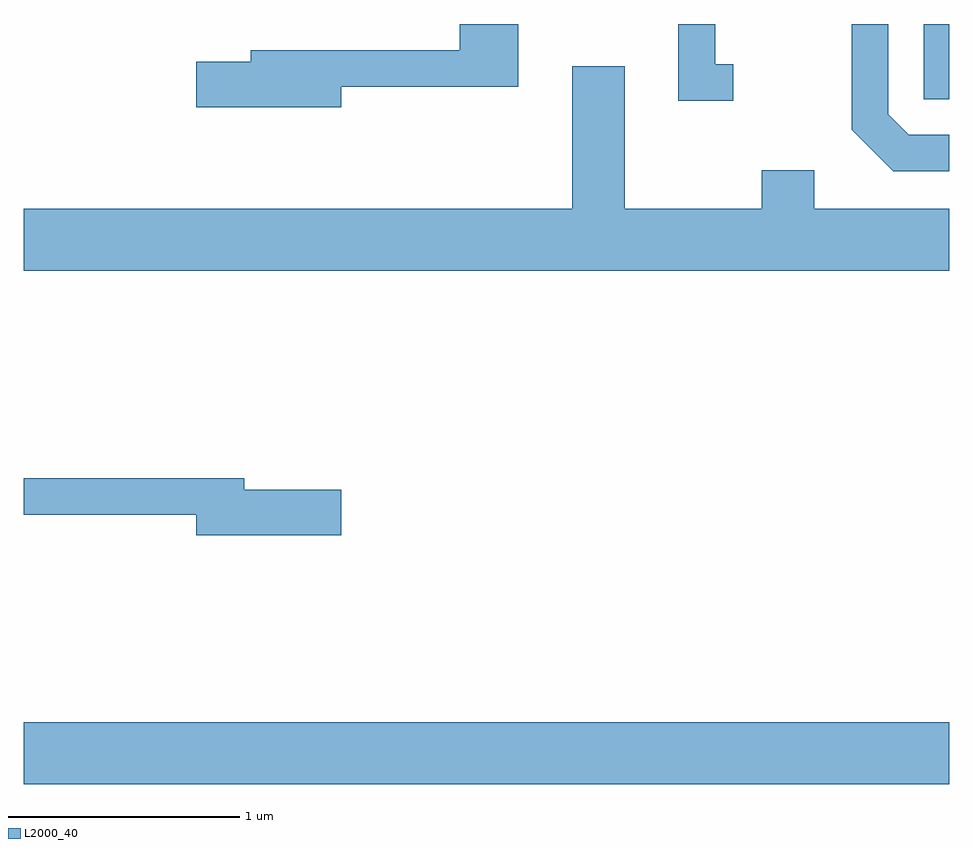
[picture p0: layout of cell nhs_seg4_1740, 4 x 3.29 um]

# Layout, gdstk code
import gdstk
lib = gdstk.Library(unit=1e-6, precision=1e-09)
def R(c, l, rs):  # rectangles x0, y0, x1, y1
    for r in rs: c.add(gdstk.rectangle(r[:2], r[2:], *l))
def P(c, l, *ps):  # polygons
    for p in ps: c.add(gdstk.Polygon(p, *l))
L2000_40 = (2000, 40)

nhs_seg4_1740 = lib.new_cell('nhs_seg4_1740')
R(nhs_seg4_1740, L2000_40, [(235.611,1334.696,239.611,1334.964), (239.501,1337.656,239.611,1337.982)])
P(nhs_seg4_1740, L2000_40, [(239.611,1337.504),(239.437,1337.504),(239.349,1337.592),(239.349,1337.982),(239.191,1337.982),(239.191,1337.524),(239.369,1337.346),(239.611,1337.346)],
  [(236.984,1337.711),(237.749,1337.711),(237.749,1337.982),(237.496,1337.982),(237.496,1337.869),(236.591,1337.869),(236.591,1337.819),(236.356,1337.819),(236.356,1337.621),(236.984,1337.621)],
  [(238.678,1337.809),(238.599,1337.809),(238.599,1337.982),(238.441,1337.982),(238.441,1337.651),(238.678,1337.651)],
  [(239.611,1337.184),(239.029,1337.184),(239.029,1337.349),(238.801,1337.349),(238.801,1337.184),(238.209,1337.184),(238.209,1337.799),(237.981,1337.799),(237.981,1337.184),(235.611,1337.184),(235.611,1336.916),(239.611,1336.916)],
  [(236.984,1335.969),(236.564,1335.969),(236.564,1336.019),(235.611,1336.019),(235.611,1335.861),(236.356,1335.861),(236.356,1335.771),(236.984,1335.771)])

lib.write_gds('nhs_seg4_1740.gds')
